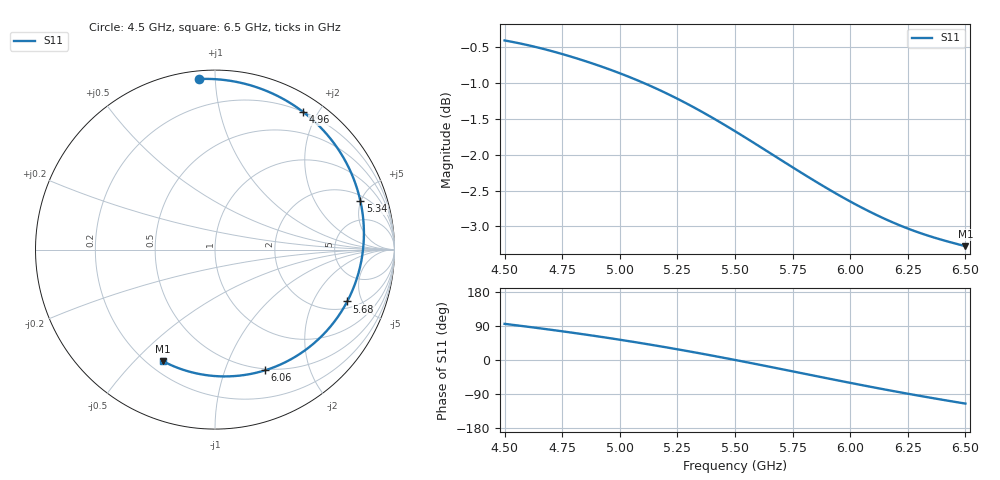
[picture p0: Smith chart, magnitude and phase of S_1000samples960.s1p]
! TOUCHSTONE file generated by CST MICROWAVE STUDIO
! Date and time: Sat Oct 29 22:28:29 2022
! Project name: L.cst
! Parameters = {Di=1.27; Epsilon_r=1.56; InnerDiameter=1.27; Length=2; Lf=10; Lg=60; OuterConductorThickness=0.2921; OuterDiameter=3.6; Wf=3; Wp=41.2; de=1.5; df=6.8; g=0.8; gx=4.994; gy=3.74839; h=2.34; hf=1.524; px=13.1165; py=10.4348; w=9.7; wx=8.12255; wy=6.68645}
! Header version: 2018
! Port assignment regex: !\s*Touchstone port\s*([0-9]+)\s*=\s*(CST MWS port|CST DS port)\s*([0-9]+|Zmin|Zmax)\s*\(\"(.*)\"\)(\s*mode\s*([0-9]+))?.*
! Touchstone port assignment:
! Touchstone port 1 = CST MWS port 1 ("")
# GHz S DB R 50
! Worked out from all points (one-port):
!   101 points, 4.5 GHz to 6.5 GHz, reference 50 ohm
!   lowest |S11| = -3.3 dB at 6.5 GHz (marker M1), VSWR 5.36, Z = 12.9 - j30.3 ohm
!   |S11| at or under -10 dB: nowhere
!   S11 on the Smith chart (normalised r, x): 4.5 GHz: 0.04, +0.91; 4.96 GHz: 0.20, +1.82; 5.34 GHz: 2.49, +4.96; 5.68 GHz: 2.44, -3.78; 6.06 GHz: 0.48, -1.39; 6.5 GHz: 0.26, -0.61
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4.5  -0.40 95.4
4.58  -0.45 89.3
4.64  -0.50 84.7
4.76  -0.60 74.9
4.86  -0.70 66.3
4.96  -0.81 57.2
5  -0.86 53.5
5.06  -0.94 47.7
5.12  -1.02 41.8
5.2  -1.14 33.5
5.26  -1.23 27.2
5.34  -1.37 18.4
5.42  -1.52 9.4
5.5  -1.67 0.1
5.58  -1.83 -9.4
5.62  -1.91 -14.2
5.68  -2.03 -21.4
5.76  -2.20 -31.2
5.82  -2.31 -38.5
5.88  -2.43 -45.8
5.94  -2.54 -53.1
6  -2.65 -60.3
6.06  -2.75 -67.4
6.16  -2.91 -78.9
6.26  -3.04 -90.1
6.32  -3.11 -96.5
6.38  -3.17 -102.8
6.5  -3.28 -115.0
